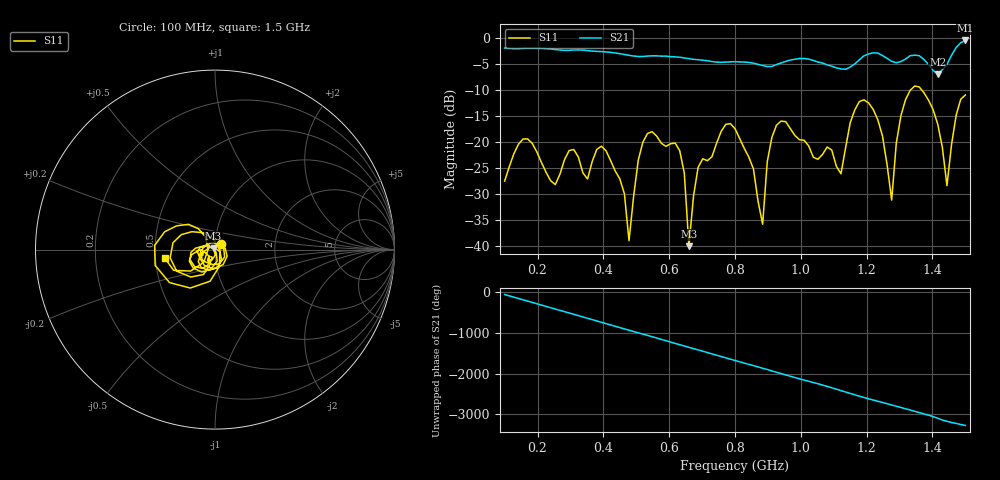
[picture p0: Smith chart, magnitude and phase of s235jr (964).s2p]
! NanoVNA-App
! Date: 2025-09-25 15:11:40
! Start: 100MHz Stop: 1,5GHz Points: 101
! S-Parameter data: F S11 S21 S12 S22
# Hz S RI R 50
!  Frequency  S11_Real  S11_Imag  S21_Real  S21_Imag  S12_Real  S12_Imag  S22_Real  S22_Imag
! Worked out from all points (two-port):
!   101 points, 100 MHz to 1.5 GHz, reference 50 ohm
!   highest |S21| = -0.52 dB at 1.5 GHz (marker M1); lowest = -7.0 dB at 1.416 GHz (marker M2)
!   |S21| within 3 dB of the highest: start of sweep to 494.8 MHz; 1.191 GHz to 1.251 GHz (59.87 MHz wide, 4.9 % of centre) (the widest 2 of 5)
!   lowest |S11| = -39.9 dB at 660 MHz (marker M3), VSWR 1.02, Z = 49.2 + j0.638 ohm
!   |S11| at or under -10 dB: start of sweep to 1.333 GHz; 1.367 GHz to end of sweep
!   S12 and S22 are empty: the file has one direction only
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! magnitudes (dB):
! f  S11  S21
! 100 MHz  -27.5  -2.0
! 156 MHz  -19.4  -2.0
! 338 MHz  -25.9  -2.4
! 408 MHz  -21.6  -2.7
! 478 MHz  -38.9  -3.4
! 520 MHz  -20.0  -3.6
! 576 MHz  -20.2  -3.5
! 632 MHz  -21.6  -3.7
! 660 MHz  -39.9  -4.0
! 688 MHz  -24.8  -4.2
! 800 MHz  -17.4  -4.6
! 884 MHz  -35.7  -5.3
! 926 MHz  -16.8  -5.1
! 1.038 GHz  -22.9  -4.3
! 1.122 GHz  -26.1  -6.0
! 1.192 GHz  -11.9  -3.5
! 1.248 GHz  -18.8  -3.4
! 1.276 GHz  -31.1  -4.5
! 1.332 GHz  -10.1  -3.5
! 1.416 GHz  -16.6  -7.0
! 1.444 GHz  -28.4  -5.1
! 1.5 GHz  -11.0  -0.5
